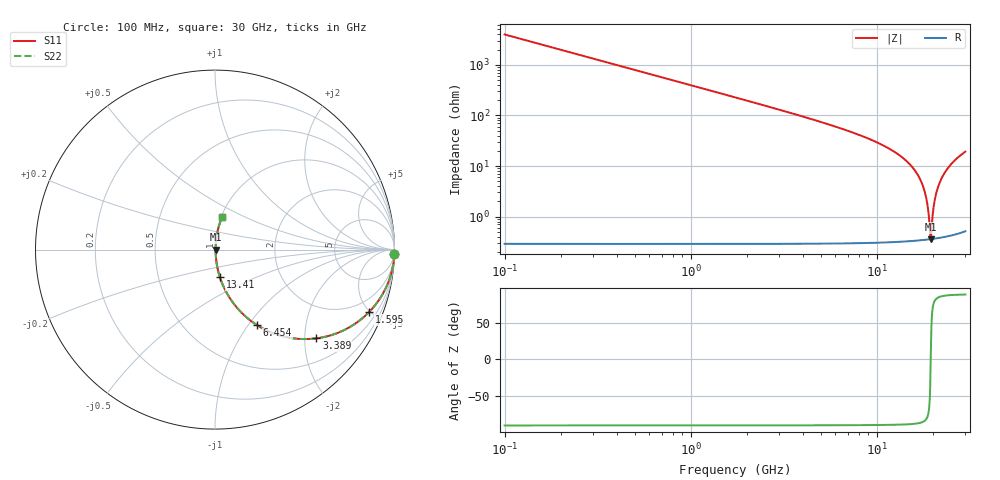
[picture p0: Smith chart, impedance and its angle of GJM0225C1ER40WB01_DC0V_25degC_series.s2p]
!Murata Part Number: GJM0225C1ER40WB01
!These Parameters are Measured in Series Mode Connection
!  o--ll--o
!Port1  Port2
!  o------o
!Operation Temp=25[degC], DC Bias Voltage=0[V]
!Freq. Start=100[MHz] Stop=30[GHz], 401[Steps]
!Data Generated on Feb 1, 2023
# Hz S RI R 50
!Freq.(Hz) S11(Real) S11(Imag) S21(Real) S21(Imag) S12(Real) S12(Imag) S22(Real) S22(Imag)
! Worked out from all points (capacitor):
!   401 points, 100 MHz to 30 GHz, reference 50 ohm
!   read as one part in series: C = 400 fF near 249.5 MHz
!   lowest |Z| = 359 mohm at 19.54 GHz (marker M1)
!   series resonance near 19.53 GHz, so ESL is about 170 pH
!   S11 on the Smith chart (normalised r, x): 100 MHz: 1, -80; 1.595 GHz: 1.01, -4.96; 3.389 GHz: 1.01, -2.28; 6.454 GHz: 1.01, -1.10; 13.41 GHz: 1.01, -0.32; 30 GHz: 1.01, +0.38
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1e8  0.9994 -0.0251  0.000633 0.0251  0.000633 0.0251  0.9994 -0.0251
3.99e8  0.99 -0.0993  0.00999 0.0993  0.00999 0.0993  0.99 -0.0993
6.2325e8  0.9759 -0.153  0.0241 0.153  0.0241 0.153  0.9759 -0.153
1.07175e9  0.9318 -0.2517  0.0682 0.2517  0.0682 0.2517  0.9318 -0.2517
1.595e9  0.8597 -0.3467  0.1403 0.3467  0.1403 0.3467  0.8597 -0.3467
3.389e9  0.5647 -0.4945  0.4353 0.4945  0.4353 0.4945  0.5647 -0.4945
5.10825e9  0.3462 -0.4737  0.6538 0.4737  0.6538 0.4737  0.3462 -0.4737
6.45375e9  0.2338 -0.4206  0.7662 0.4206  0.7662 0.4206  0.2338 -0.4206
1.01165e10  0.0797 -0.2656  0.9203 0.2656  0.9203 0.2656  0.0797 -0.2656
1.34055e10  0.0275 -0.1538  0.9725 0.1538  0.9725 0.1538  0.0275 -0.1538
1.505e10  0.0149 -0.1069  0.9851 0.1069  0.9851 0.1069  0.0149 -0.1069
1.6844e10  0.0071 -0.0609  0.9929 0.0609  0.9929 0.0609  0.0071 -0.0609
1.811475e10  0.00443 -0.031  0.9956 0.031  0.9956 0.031  0.00443 -0.031
1.886225e10  0.00373 -0.0143  0.9963 0.0143  0.9963 0.0143  0.00373 -0.0143
1.93855e10  0.00357 -0.00303  0.9964 0.00303  0.9964 0.00303  0.00357 -0.00303
1.9535e10  0.00357 0.000153  0.9964 -0.000153  0.9964 -0.000153  0.00357 0.000153
1.96845e10  0.0036 0.00331  0.9964 -0.00331  0.9964 -0.00331  0.0036 0.00331
2.005825e10  0.00375 0.0111  0.9963 -0.0111  0.9963 -0.0111  0.00375 0.0111
2.0731e10  0.0043 0.0249  0.9957 -0.0249  0.9957 -0.0249  0.0043 0.0249
2.170275e10  0.00573 0.044  0.9943 -0.044  0.9943 -0.044  0.00573 0.044
2.50665e10  0.0154 0.1052  0.9846 -0.1052  0.9846 -0.1052  0.0154 0.1052
3e10  0.0403 0.1838  0.9597 -0.1838  0.9597 -0.1838  0.0403 0.1838
